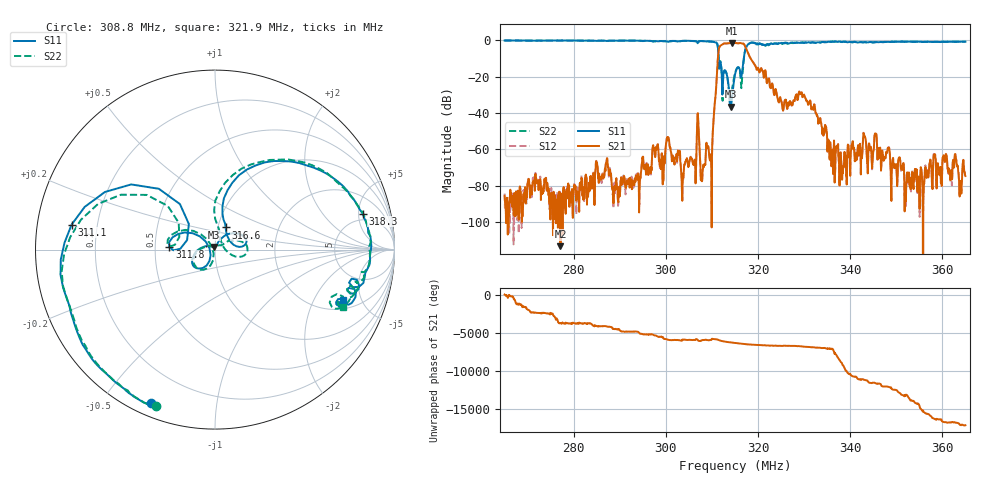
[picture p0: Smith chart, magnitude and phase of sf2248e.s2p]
# Hz S RI R 50
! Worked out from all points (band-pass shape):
!   1601 points, 265 MHz to 365 MHz, reference 50 ohm
!   highest |S21| = -1.45 dB at 314.4 MHz (marker M1); lowest = -113.3 dB at 277.1 MHz (marker M2)
!   |S21| within 3 dB of the highest: 311.5 MHz to 317.4 MHz (5.885 MHz wide, 1.87 % of centre)
!   lowest |S11| = -36.4 dB at 314.1 MHz (marker M3), VSWR 1.03, Z = 49.5 + j1.42 ohm
!   |S11| at or under -10 dB: 311.4 MHz to 316.9 MHz (5.471 MHz wide, 1.74 % of centre)
!   |S22| runs from -35.6 to -0.1 dB; largest |S21 - S12| = 0.0041
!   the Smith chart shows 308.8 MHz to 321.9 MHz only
!   S11 on the Smith chart (normalised r, x): 308.8 MHz: 0.06, -0.67; 311.1 MHz: 0.11, +0.09; 311.8 MHz: 0.59, +0.02; 316.6 MHz: 1.09, +0.27; 318.3 MHz: 3.94, +5.58; 321.9 MHz: 2.59, -3.47
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2.65e8  0.5862 -0.7964  4e-05 3.36e-05  2.26e-05 5.59e-05  0.5929 -0.7923
2.77125e8  0.5229 -0.8318  -7.33e-07 -2.03e-06  -1.83e-05 -2.1e-05  0.5309 -0.8328
2.816875e8  0.4799 -0.8493  -0.000136 -9.1e-05  -0.000152 -0.000121  0.4928 -0.8486
2.98375e8  0.2802 -0.8957  -0.000549 -0.000809  -0.000519 -0.00082  0.2956 -0.8919
3.036875e8  0.1282 -0.9563  -0.000202 -7.15e-05  -0.000166 -6.92e-05  0.151 -0.954
3.0875e8  -0.3551 -0.8547  -0.00125 -0.000461  -0.00126 -0.000498  -0.3271 -0.8721
3.09875e8  -0.5934 -0.7025  -0.000278 6.55e-05  -0.000289 5.34e-05  -0.5657 -0.7269
3.11125e8  -0.7992 0.1388  -0.067 -0.1353  -0.0674 -0.1347  -0.8066 0.0697
3.1175e8  -0.2541 0.0129  -0.0371 0.6935  -0.038 0.6913  -0.265 0.0312
3.125625e8  -0.0844 -0.1051  0.7576 -0.3066  0.756 -0.3068  -0.0642 -0.1126
3.140625e8  -0.0046 0.0143  -0.7663 -0.3375  -0.7659 -0.3398  0.0117 0.0216
3.14375e8  0.00981 0.0251  -0.8462 -0.0163  -0.8428 -0.0173  0.0386 0.0265
3.15e8  0.0735 0.087  -0.6286 0.5642  -0.6289 0.5636  0.1143 0.0513
3.165625e8  0.0589 0.1234  0.6711 0.4586  0.6685 0.4604  0.0257 0.0941
3.183125e8  0.8222 0.2011  0.1038 -0.3134  0.1055 -0.3143  0.8235 0.2045
3.219375e8  0.7117 -0.2787  -0.0651 0.0113  -0.0652 0.0114  0.7138 -0.3182
3.316875e8  0.6582 -0.5777  0.00708 -0.0117  0.00712 -0.0117  0.6675 -0.5733
3.38125e8  0.6018 -0.6734  0.000132 0.00023  0.000122 0.000233  0.5983 -0.6731
3.43e8  0.5631 -0.6804  0.00206 -0.0015  0.00208 -0.00147  0.5762 -0.6746
3.48375e8  0.5563 -0.7039  -0.000231 0.00109  -0.000239 0.00111  0.57 -0.6938
3.533125e8  0.5314 -0.747  -9.39e-05 0.000125  -0.00014 0.000155  0.537 -0.7401
3.65e8  0.4913 -0.7724  1.68e-05 0.000184  7.73e-06 0.000193  0.503 -0.7643
